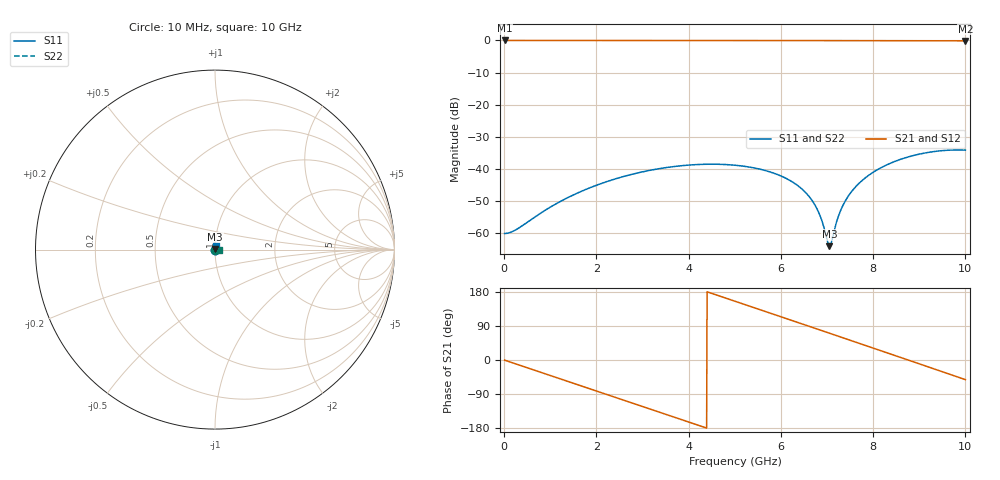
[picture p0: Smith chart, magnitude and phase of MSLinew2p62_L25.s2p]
! TOUCHSTONE file generated by CST MICROWAVE STUDIO
! Date and time: Mon Feb 10 02:50:38 2025
! Project name: MSLine.cst
! Parameters = {Lamb=0.05; C=0; L=25; Li=0; R=1e-13; W=20; dlump=2; er=2; h=0.8; w1=2.62}
! Header version: 2024
! Port assignment regex: !\s*Touchstone port\s*([0-9]+)\s*=\s*(CST MWS port|CST DES external port|CST DES block port)\s*(.+)\s* \(\"(.*)\"\)(\s*mode\s*([0-9]+))?.*
! Touchstone port assignment:
! Touchstone port 1 = CST MWS port 1 ("")
! Touchstone port 2 = CST MWS port 2 ("")
# GHz S MA R 50
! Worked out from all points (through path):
!   1000 points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, 10 MHz to 10 GHz, reference 50 ohm
!   highest |S21| = 0.00 dB at 10 MHz (marker M1); lowest = -0.1 dB at 10 GHz (marker M2)
!   group delay of S21, straight-line fit = 114 ps
!   lowest |S11| = -64.0 dB at 7.05 GHz (marker M3), VSWR 1.00, Z = 50 + j0.0633 ohm
!   |S11| at or under -10 dB: start of sweep to end of sweep
!   |S22| runs from -64.0 to -34.0 dB; largest |S21 - S12| = 1.7e-06
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0.01  0.000996 -1.8  1 -0.4  1 -0.4  0.000996 -179.0
0.79  0.002063 -102.4  0.9999 -32.3  0.9999 -32.3  0.002063 -142.1
1.68  0.00453 -159.8  0.9997 -68.7  0.9997 -68.7  0.00453 -157.5
2.49  0.007319 162.7  0.9994 -101.8  0.9994 -101.8  0.007319 173.7
3.34  0.01009 129.8  0.999 -136.6  0.999 -136.6  0.01009 137.1
4.19  0.01177 100.0  0.9984 -171.4  0.9984 -171.4  0.01177 97.2
4.6  0.0119 86.3  0.9981 171.8  0.9981 171.8  0.0119 77.2
5.01  0.01147 72.9  0.9978 154.9  0.9978 154.9  0.01147 56.9
5.56  0.009913 55.5  0.9972 132.3  0.9972 132.3  0.009913 29.1
6.04  0.007595 41.0  0.9967 112.5  0.9967 112.5  0.007595 4.1
6.4  0.005296 31.3  0.9963 97.7  0.9963 97.7  0.005296 -15.9
6.67  0.003298 26.7  0.9959 86.6  0.9959 86.6  0.003298 -33.6
6.84  0.001958 28.9  0.9957 79.5  0.9957 79.5  0.001958 -49.8
7.05  0.0006329 89.4  0.9954 70.9  0.9954 70.9  0.0006329 -127.7
7.1  0.0007495 124.1  0.9953 68.8  0.9953 68.8  0.0007495 -166.5
7.3  0.002319 159.1  0.9949 60.5  0.9949 60.5  0.002319 141.9
7.51  0.004257 159.4  0.9946 51.8  0.9946 51.8  0.004257 124.2
7.86  0.007587 151.5  0.9939 37.3  0.9939 37.3  0.007587 103.2
8.34  0.01203 137.0  0.9928 17.4  0.9928 17.4  0.01203 77.8
8.74  0.0153 124.0  0.9917 0.8  0.9917 0.8  0.0153 57.5
9.14  0.01788 110.5  0.9903 -15.9  0.9903 -15.9  0.01788 37.7
10  0.01972 80.2  0.9865 -51.8  0.9865 -51.8  0.01972 -3.9
